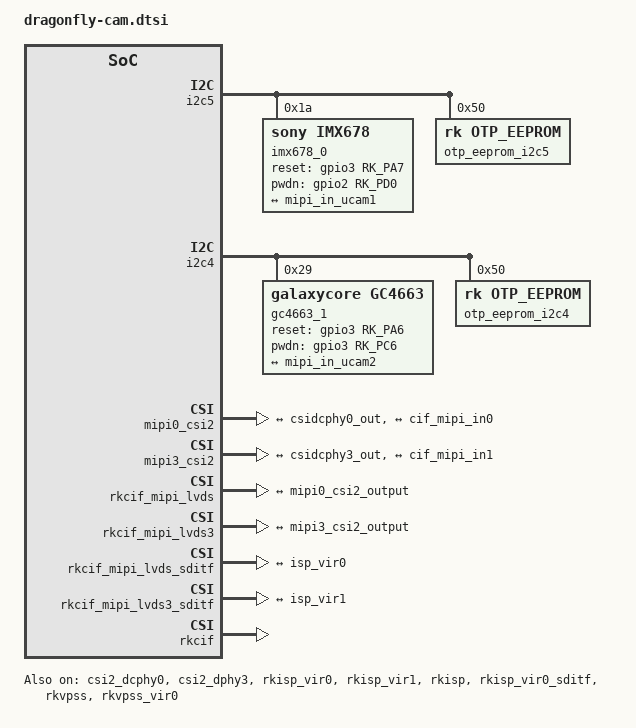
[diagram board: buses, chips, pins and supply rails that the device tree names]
&i2c5 {
	status = "okay";
	pinctrl-0 = <&i2c5m3_xfer>;

    imx678_0: imx678_0@1a {
            compatible = "sony,imx678";
            reg = <0x1a>;
            clocks = <&cru CLK_MIPI_CAMERAOUT_M2>;
            clock-names = "xvclk";
            pinctrl-names = "default";
            pinctrl-0 = <&cam_clk2m0_clk2>;
            power-domains = <&power RK3576_PD_VI>;
            reset-gpios = <&gpio3 RK_PA7 GPIO_ACTIVE_HIGH>;
            pwdn-gpios = <&gpio2 RK_PD0 GPIO_ACTIVE_HIGH>;
            rockchip,camera-module-index = <0>;
            rockchip,camera-module-facing = "back";
            rockchip,camera-module-name = "OT01";
            rockchip,camera-module-lens-name = "40IRC_F16";
			eeprom-ctrl=<&otp_eeprom_i2c5>;
            port {
                    imx678_out0: endpoint {
                            remote-endpoint = <&mipi_in_ucam1>;
                            data-lanes = <1 2 3 4>;
                    };
            };
    };
	otp_eeprom_i2c5: otp_eeprom@50 {
		compatible = "rk,otp_eeprom";
		status = "okay";
		reg = <0x50>;
	};
};

&i2c4 {
	status = "okay";
	pinctrl-0 = <&i2c4m3_xfer>;

    gc4663_1: gc4663_1@29 {
            compatible = "galaxycore,gc4663";
            reg = <0x29>;
            clocks = <&cru CLK_MIPI_CAMERAOUT_M0>;
            clock-names = "xvclk";
            pinctrl-names = "default";
            pinctrl-0 = <&cam_clk0m0_clk0>;
            power-domains = <&power RK3576_PD_VI>;
            reset-gpios = <&gpio3 RK_PA6 GPIO_ACTIVE_HIGH>;
            pwdn-gpios = <&gpio3 RK_PC6 GPIO_ACTIVE_HIGH>;
            rockchip,camera-module-index = <1>;
            rockchip,camera-module-facing = "front";
            rockchip,camera-module-name = "CMK-OT2022-PX1";
            rockchip,camera-module-lens-name = "IR0147-50IRC-8M-F20";
			eeprom-ctrl=<&otp_eeprom_i2c4>;
            port {
                    gc4663_out1: endpoint {
                            remote-endpoint = <&mipi_in_ucam2>;
                            data-lanes = <1 2>;
                    };
            };
    };

    otp_eeprom_i2c4: otp_eeprom@50 {
		compatible = "rk,otp_eeprom";
		status = "okay";
		reg = <0x50>;
	};
};

/*-----------------------------------------------------------------------*/

&csi2_dcphy0 {
	status = "okay";

	ports {
		#address-cells = <1>;
		#size-cells = <0>;
		port@0 {
			reg = <0>;
			#address-cells = <1>;
			#size-cells = <0>;

			mipi_in_ucam2: endpoint@2 {
				reg = <2>;
				remote-endpoint = <&gc4663_out1>;
				data-lanes = <1 2>;
			};
		};
		port@1 {
			reg = <1>;
			#address-cells = <1>;
			#size-cells = <0>;

			csidcphy0_out: endpoint@0 {
				reg = <0>;
				remote-endpoint = <&mipi0_csi2_input>;
			};
		};
	};
};

&csi2_dphy3 {
	status = "okay";

	ports {
		#address-cells = <1>;
		#size-cells = <0>;
		port@0 {
			reg = <0>;
			#address-cells = <1>;
			#size-cells = <0>;

			mipi_in_ucam1: endpoint@1 {
				reg = <1>;
				remote-endpoint = <&imx678_out0>;
				data-lanes = <1 2 3 4>;
			};

		};
		port@1 {
			reg = <1>;
			#address-cells = <1>;
			#size-cells = <0>;

			csidcphy3_out: endpoint@0 {
				reg = <0>;
				remote-endpoint = <&mipi3_csi2_input>;
			};
		};
	};
};

/*-----------------------------------------------------------------------*/

&mipi0_csi2 {
	status = "okay";

	ports {
		#address-cells = <1>;
		#size-cells = <0>;

		port@0 {
			reg = <0>;
			#address-cells = <1>;
			#size-cells = <0>;

			mipi0_csi2_input: endpoint@1 {
				reg = <1>;
				remote-endpoint = <&csidcphy0_out>;
			};
		};

		port@1 {
			reg = <1>;
			#address-cells = <1>;
			#size-cells = <0>;

			mipi0_csi2_output: endpoint@0 {
				reg = <0>;
				remote-endpoint = <&cif_mipi_in0>;
			};
		};
	};
};

&mipi3_csi2 {
	status = "okay";

	ports {
		#address-cells = <1>;
		#size-cells = <0>;

		port@0 {
			reg = <0>;
			#address-cells = <1>;
			#size-cells = <0>;

			mipi3_csi2_input: endpoint@1 {
				reg = <1>;
				remote-endpoint = <&csidcphy3_out>;
			};
		};

		port@1 {
			reg = <1>;
			#address-cells = <1>;
			#size-cells = <0>;

			mipi3_csi2_output: endpoint@0 {
				reg = <0>;
				remote-endpoint = <&cif_mipi_in1>;
			};
		};
	};
};

/*-----------------------------------------------------------------------*/

&rkcif_mipi_lvds {
	status = "okay";

	port {
		cif_mipi_in0: endpoint {
			remote-endpoint = <&mipi0_csi2_output>;
		};
	};
};

&rkcif_mipi_lvds3 {
	status = "okay";

	port {
		cif_mipi_in1: endpoint {
			remote-endpoint = <&mipi3_csi2_output>;
		};
	};
};

/*-----------------------------------------------------------------------*/

&rkcif_mipi_lvds_sditf {
	status = "okay";

	port {
		mipi_lvds_sditf: endpoint {
			remote-endpoint = <&isp_vir0>;
		};
	};
};

&rkcif_mipi_lvds3_sditf {
	status = "okay";

	port {
		mipi_lvds3_sditf: endpoint {
			remote-endpoint = <&isp_vir1>;
		};
	};
};

/*-----------------------------------------------------------------------*/

&rkisp_vir0 {
	status = "okay";

	port {
		#address-cells = <1>;
		#size-cells = <0>;

		isp_vir0: endpoint@0 {
			reg = <0>;
			remote-endpoint = <&mipi_lvds_sditf>;
		};
	};
};

&rkisp_vir1 {
	status = "okay";

	port {
		#address-cells = <1>;
		#size-cells = <0>;

		isp_vir1: endpoint@0 {
			reg = <0>;
			remote-endpoint = <&mipi_lvds3_sditf>;
		};
	};
};

/*-----------------------------------------------------------------------*/

&rkcif {
	status = "okay";
};

&rkcif_mmu {
	status = "okay";
};

&rkisp {
	status = "okay";
};

&rkisp_mmu {
	status = "okay";
};

&rkisp_vir0_sditf {
	status = "okay";
};

&rkvpss {
	status = "okay";
};

&rkvpss_mmu {
	status = "okay";
};

&rkvpss_vir0 {
	status = "okay";
};
